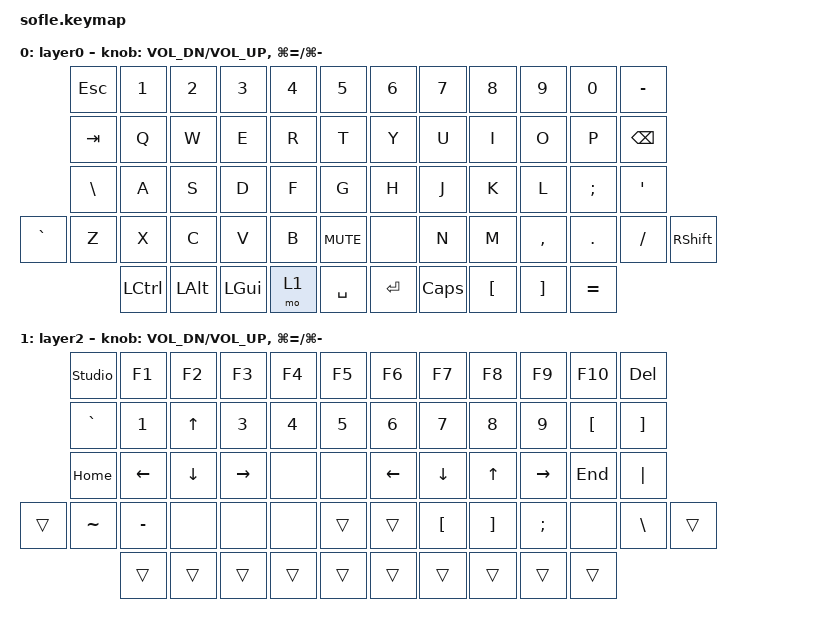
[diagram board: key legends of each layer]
  /*
  * Copyright (c) 2020 The ZMK Contributors
  *
  * SPDX-License-Identifier: MIT
  */

  #include <behaviors.dtsi>
  #include <dt-bindings/zmk/keys.h>

  / {
    keymap {
      compatible = "zmk,keymap";

      layer0 {
        /* Layer 0 - zakladna
         * Shift znaky su v zatvorke. Alt/Option sem nedopisujem, lebo zavisi od OS layoutu.
         * ESC   1(!) 2(@) 3(#) 4($) 5(%)    6(^) 7(&) 8(*) 9(() 0()) -(_)
         * TAB   Q    W    E    R    T        Y    U    I    O    P    BSPC
         * \(|)  A    S    D    F    G        H    J    K    L    ;(:) '(")
         * `(~)  Z    X    C    V    B   MUTE  ·    N    M    ,(<) .(>) /(?) RSHFT
         *
         * LCTRL LALT LGUI MO(1) SPACE   |   ENTER CAPS  [({) ](}) =(+ )

         */
        bindings = <
          &kp ESCAPE &kp N1 &kp N2 &kp N3 &kp N4 &kp N5 &kp N6 &kp N7 &kp N8 &kp N9 &kp N0 &kp MINUS
          &kp TAB &kp Q &kp W &kp E &kp R &kp T &kp Y &kp U &kp I &kp O &kp P &kp BACKSPACE
          &kp BACKSLASH &kp A &kp S &kp D &kp F &kp G &kp H &kp J &kp K &kp L &kp SEMICOLON &kp SINGLE_QUOTE
          &kp GRAVE &kp Z &kp X &kp C &kp V &kp B &kp C_MUTE &none &kp N &kp M &kp COMMA &kp DOT &kp SLASH &kp RIGHT_SHIFT
          &kp LEFT_CONTROL &kp LEFT_ALT &kp LEFT_GUI &mo 1 &kp SPACE &kp ENTER &kp CAPS &kp LEFT_BRACKET &kp RIGHT_BRACKET &kp EQUAL
        >;
        sensor-bindings = <&inc_dec_kp C_VOL_DN C_VOL_UP &inc_dec_kp LG(EQUAL) LG(MINUS)>;
      };

      layer2 {
        /* Layer 2 - funkcne / symboly / sipky
         * Shift znaky su v zatvorke. Alt/Option sem nedopisujem, lebo zavisi od OS layoutu.
         * TRNS  F1   F2   F3   F4   F5       F6   F7   F8   F9   F10  DEL
         * `(~) 1(!) UP   3(#) 4($) 5(%)      6(^) 7(&) 8(*) 9(() [({) ](})
         * HOME  LEFT DOWN RIGHT ·    ·        LEFT DOWN UP   RIGHT END  |
         * TRNS  ~    -(_) ·    ·    ·        TRNS TRNS [({) ](}) ;(:) · \(|) TRNS
         */
        bindings = <
          &studio_unlock &kp F1 &kp F2 &kp F3 &kp F4 &kp F5 &kp F6 &kp F7 &kp F8 &kp F9 &kp F10 &kp DELETE
          &kp GRAVE &kp N1 &kp UP &kp N3 &kp N4 &kp N5 &kp N6 &kp N7 &kp N8 &kp N9 &kp LEFT_BRACKET &kp RIGHT_BRACKET
          &kp HOME &kp LEFT &kp DOWN &kp RIGHT &none &none &kp LEFT &kp DOWN &kp UP &kp RIGHT &kp END &kp PIPE
          &trans &kp TILDE &kp MINUS &none &none &none &trans &trans &kp LEFT_BRACKET &kp RIGHT_BRACKET &kp SEMICOLON &none &kp BACKSLASH &trans
          &trans &trans &trans &trans &trans &trans &trans &trans &trans &trans
        >;
        sensor-bindings = <&inc_dec_kp C_VOL_DN C_VOL_UP &inc_dec_kp LG(EQUAL) LG(MINUS)>;
      };
    };
  };
